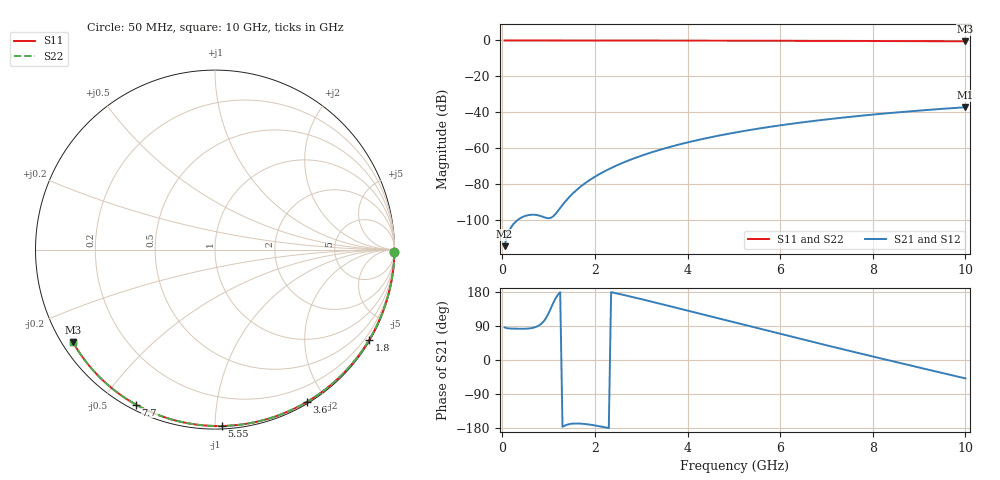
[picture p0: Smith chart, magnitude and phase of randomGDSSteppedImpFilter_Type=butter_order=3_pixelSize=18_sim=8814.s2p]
! freq	dB(S11)	phase(S11)	dB(S12)	phase(S12)
!  dB(S21)	phase(S21)	dB(S22)	phase(S22)
!S-par simulation data
#  GHz  S  DB  R 50
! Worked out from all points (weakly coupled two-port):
!   200 points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, 50 MHz to 10 GHz, reference 50 ohm
!   highest |S21| = -37.26 dB at 10 GHz (marker M1); lowest = -114.8 dB at 50 MHz (marker M2)
!   lowest |S11| = -0.5 dB at 10 GHz (marker M3), VSWR 35.14, Z = 1.55 - j14.9 ohm
!   |S11| at or under -10 dB: nowhere
!   |S22| runs from -0.5 to 0.0 dB; largest |S21 - S12| = 0
!   S11 on the Smith chart (normalised r, x): 50 MHz: open; 1.8 GHz: 0.03, -3.70; 3.6 GHz: 0.02, -1.77; 5.55 GHz: 0.02, -1.04; 7.7 GHz: 0.02, -0.61; 10 GHz: 0.03, -0.30
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0.05  -0.00 -0.9  -114.76 85.9  -114.76 85.9  -0.00 -0.9
0.45  -0.01 -7.7  -98.35 82.4  -98.35 82.4  -0.01 -7.7
0.9  -0.02 -15.3  -98.58 102.9  -98.58 102.9  -0.02 -15.3
1.3  -0.03 -22.0  -91.78 -176.3  -91.78 -176.3  -0.03 -22.0
1.75  -0.04 -29.4  -80.38 -168.5  -80.38 -168.5  -0.04 -29.4
1.8  -0.04 -30.3  -79.42 -169.1  -79.42 -169.1  -0.04 -30.3
1.95  -0.04 -32.7  -76.82 -171.7  -76.82 -171.7  -0.04 -32.7
2.1  -0.04 -35.2  -74.53 -174.8  -74.53 -174.8  -0.04 -35.2
2.3  -0.05 -38.4  -71.80 -179.7  -71.80 -179.7  -0.05 -38.4
2.5  -0.05 -41.7  -69.39 175.0  -69.39 175.0  -0.05 -41.7
2.9  -0.06 -48.0  -65.25 163.6  -65.25 163.6  -0.06 -48.0
3.4  -0.07 -55.9  -61.02 148.7  -61.02 148.7  -0.07 -55.9
3.6  -0.08 -59.0  -59.55 142.6  -59.55 142.6  -0.08 -59.0
4.3  -0.10 -69.6  -55.11 121.1  -55.11 121.1  -0.10 -69.6
5.05  -0.12 -80.7  -51.27 98.0  -51.27 98.0  -0.12 -80.6
5.55  -0.14 -87.8  -49.10 82.7  -49.10 82.7  -0.14 -87.8
6.1  -0.17 -95.5  -46.99 65.9  -46.99 65.9  -0.17 -95.5
6.7  -0.20 -103.7  -44.97 47.8  -44.97 47.8  -0.20 -103.7
7.7  -0.27 -117.0  -42.11 18.1  -42.11 18.1  -0.27 -117.0
8.35  -0.32 -125.5  -40.53 -1.0  -40.53 -1.0  -0.32 -125.5
9.2  -0.40 -136.5  -38.72 -25.6  -38.72 -25.6  -0.40 -136.5
10  -0.49 -146.8  -37.26 -48.5  -37.26 -48.5  -0.49 -146.8
